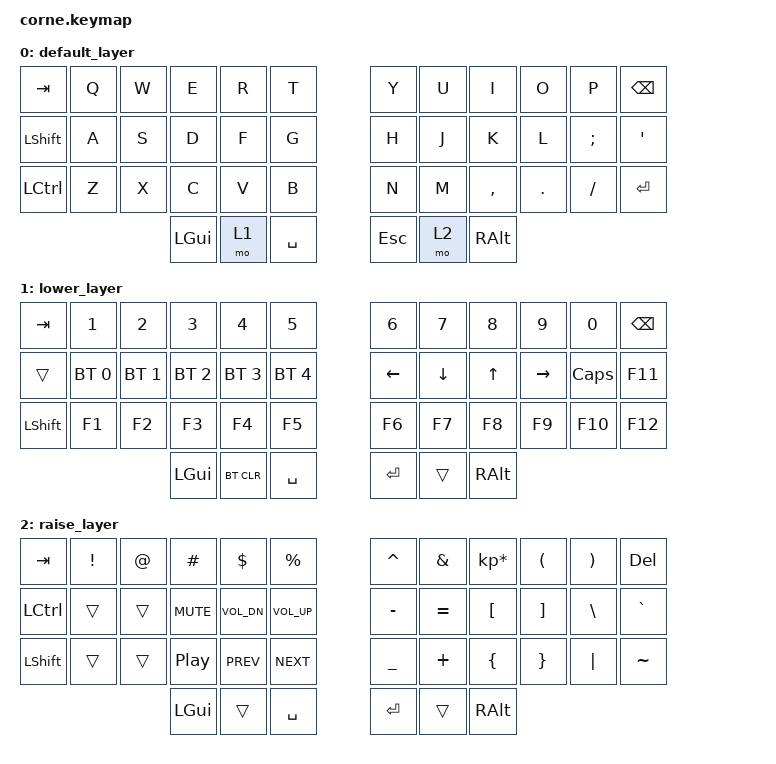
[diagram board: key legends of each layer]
/*
 * Copyright (c) 2020 The ZMK Contributors
 *
 * SPDX-License-Identifier: MIT
 */

#include <behaviors.dtsi>
#include <dt-bindings/zmk/keys.h>
#include <dt-bindings/zmk/bt.h>

/ {
        keymap {
                compatible = "zmk,keymap";

                default_layer {
// -----------------------------------------------------------------------------------------
// |  TAB |  Q  |  W  |  E  |  R  |  T  |   |  Y  |  U   |  I  |  O  |  P  | BKSP |
// | SHFT |  A  |  S  |  D  |  F  |  G  |   |  H  |  J   |  K  |  L  |  ;  |  '   |
// | CTRL |  Z  |  X  |  C  |  V  |  B  |   |  N  |  M   |  ,  |  .  |  /  | ENT  |
//                    | GUI | LWR | SPC |   | ESC | RSE  | ALT |
                        bindings = <
   &kp TAB   &kp Q &kp W &kp E &kp R &kp T   &kp Y &kp U  &kp I     &kp O   &kp P    &kp BSPC
   &kp LSHFT &kp A &kp S &kp D &kp F &kp G   &kp H &kp J  &kp K     &kp L   &kp SEMI &kp SQT
   &kp LCTRL &kp Z &kp X &kp C &kp V &kp B   &kp N &kp M  &kp COMMA &kp DOT &kp FSLH &kp RET
                  &kp LGUI &mo 1 &kp SPACE   &kp ESC &mo 2 &kp RALT
                        >;
                };
                lower_layer {
// -----------------------------------------------------------------------------------------
// |  TAB |  1  |  2  |  3  |  4  |  5    |   |  6  |  7  |  8  |  9  |  0   | BKSP |
// |      | BT0 | BT1 | BT2 | BT3 | BT4   |   | LFT | DWN |  UP | RGT | CAPS | F11  |
// | SHFT | F1  | F2  | F3  | F4  | F5    |   | F6  | F7  |  F8 | F9  | F10  | F12  |
//                    | GUI |     | BTCLR |   | ENT |     | ALT |
                        bindings = <
   &kp TAB    &kp N1       &kp N2       &kp N3       &kp N4       &kp N5         &kp N6   &kp N7   &kp N8 &kp N9    &kp N0    &kp BSPC
   &trans     &bt BT_SEL 0 &bt BT_SEL 1 &bt BT_SEL 2 &bt BT_SEL 3 &bt BT_SEL 4   &kp LEFT &kp DOWN &kp UP &kp RIGHT &kp CAPS  &kp F11
   &kp LSHFT  &kp F1       &kp F2       &kp F3       &kp F4       &kp F5         &kp F6   &kp F7   &kp F8 &kp F9    &kp F10   &kp F12
                                    &kp LGUI     &bt BT_CLR       &kp SPACE      &kp RET  &trans   &kp RALT
                        >;
                };

                raise_layer {
// -----------------------------------------------------------------------------------------
// |  TAB |  !  |  @  |  #     |  $       |  %       |   |  ^  |  &  |  *  |  (  |  )  | DEL  |
// | CTRL |     |     | C_MUTE | C_VOL_DN | C_VOL_UP |   |  -  |  =  |  [  |  ]  |  \  |  `   |
// | SHFT |     |     | C_PP   | C_PREV   | C_NEXT   |   |  _  |  +  |  {  |  }  | "|" |  ~   |
//                    | GUI    |          | SPC      |   | ENT |     | ALT |
                        bindings = <
   &kp  TAB  &kp EXCL &kp AT &kp HASH     &kp DLLR       &kp PRCNT      &kp CARET &kp AMPS  &kp KP_MULTIPLY &kp LPAR &kp RPAR &kp DEL
   &kp LCTRL &trans   &trans &kp C_MUTE   &kp C_VOL_DN   &kp C_VOL_UP   &kp MINUS &kp EQUAL &kp LBKT        &kp RBKT &kp BSLH &kp GRAVE
   &kp LSHFT &trans   &trans &kp C_PP     &kp C_PREV     &kp C_NEXT     &kp UNDER &kp PLUS  &kp LBRC        &kp RBRC &kp PIPE &kp TILDE
                             &kp LGUI     &trans         &kp SPACE      &kp RET   &trans    &kp RALT
                        >;
                };
        };
};
